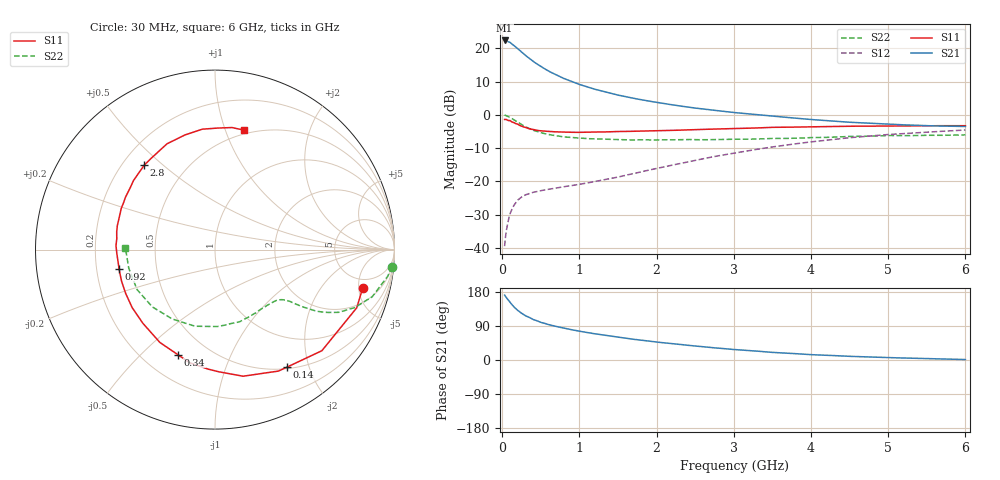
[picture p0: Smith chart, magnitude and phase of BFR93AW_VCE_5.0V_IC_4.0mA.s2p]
! Infineon Technologies  Discrete & RF Semiconductors
! BFR93AW
! VCE =  5.0 V,  IC =  4.0 mA
! Common Emitter S-Parameters:  Nov 2015
# GHz  S  MA  R  50
!  f  S11  S21  S12  S22
! GHz  MAG  ANG  MAG  ANG  MAG  ANG  MAG  ANG
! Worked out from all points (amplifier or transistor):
!   206 points, 30 MHz to 6 GHz, reference 50 ohm
!   highest |S21| = 22.3 dB at 30 MHz (marker M1)
!   |S21| within 3 dB of that: start of sweep to 225.2 MHz
!   unconditionally stable (mu >= 1): 1.002 GHz to 2.26 GHz
!   at 200 MHz: K = 0.26, MSG = 22.8 dB, |S12| = -25.6 dB
!   at 1.56 GHz: K = 1.11, MAG = 10.0 dB, |S12| = -18.4 dB
!   at 6 GHz: K = 0.94, MSG = 0.5 dB, |S12| = -4.6 dB
!   S11 on the Smith chart (normalised r, x): 30 MHz: 3.65, -5.58; 140 MHz: 0.52, -1.67; 340 MHz: 0.34, -0.65; 920 MHz: 0.30, -0.09; 2.8 GHz: 0.29, +0.44; 6 GHz: 0.46, +1.16
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0.03  0.8503 -14.4  13.09 171.2  0.0106 82.1  0.993 -5.5
0.05  0.8537 -22.3  13.02 165.2  0.0175 79.5  0.9719 -9.0
0.1  0.8197 -43.4  12.25 151.9  0.0324 67.6  0.9137 -16.8
0.14  0.7678 -58.4  11.23 142.7  0.0412 61.1  0.8554 -21.4
0.15  0.7637 -62.4  11.02 140.2  0.0435 59.9  0.8417 -22.6
0.2  0.7225 -77.5  9.846 130.9  0.0522 54.0  0.7726 -26.9
0.24  0.6811 -88.2  8.941 124.7  0.0568 50.6  0.7221 -29.0
0.3  0.646 -102.6  7.805 116.8  0.0626 46.7  0.6604 -31.3
0.34  0.6208 -109.5  7.186 113.4  0.0648 45.3  0.6303 -31.9
0.4  0.6016 -120.7  6.319 106.9  0.0683 43.5  0.5854 -33.1
0.5  0.5745 -134.4  5.3 99.3  0.0725 42.3  0.5364 -34.1
0.6  0.5634 -145.0  4.519 93.4  0.0759 42.8  0.5047 -34.7
0.7  0.5544 -153.8  3.96 88.4  0.0794 44.0  0.4833 -35.6
0.92  0.5451 -168.4  3.09 79.1  0.0871 48.0  0.4533 -38.1
1.04  0.5452 -174.9  2.761 74.6  0.0918 50.5  0.4426 -40.0
1.5  0.5602 166.4  1.975 60.3  0.1158 59.5  0.4243 -49.1
2.02  0.5779 149.7  1.521 46.9  0.1578 65.2  0.4197 -61.9
2.8  0.614 129.9  1.149 31.2  0.2419 65.8  0.4247 -83.1
3.1  0.6239 123.0  1.055 26.3  0.277 63.9  0.4285 -91.6
4.1  0.6621 102.9  0.833 13.3  0.4031 53.4  0.455 -125.0
5.1  0.6784 87.4  0.713 5.8  0.5133 39.7  0.4861 -155.8
6  0.6852 76.2  0.667 1.2  0.5901 27.8  0.4991 179.0
